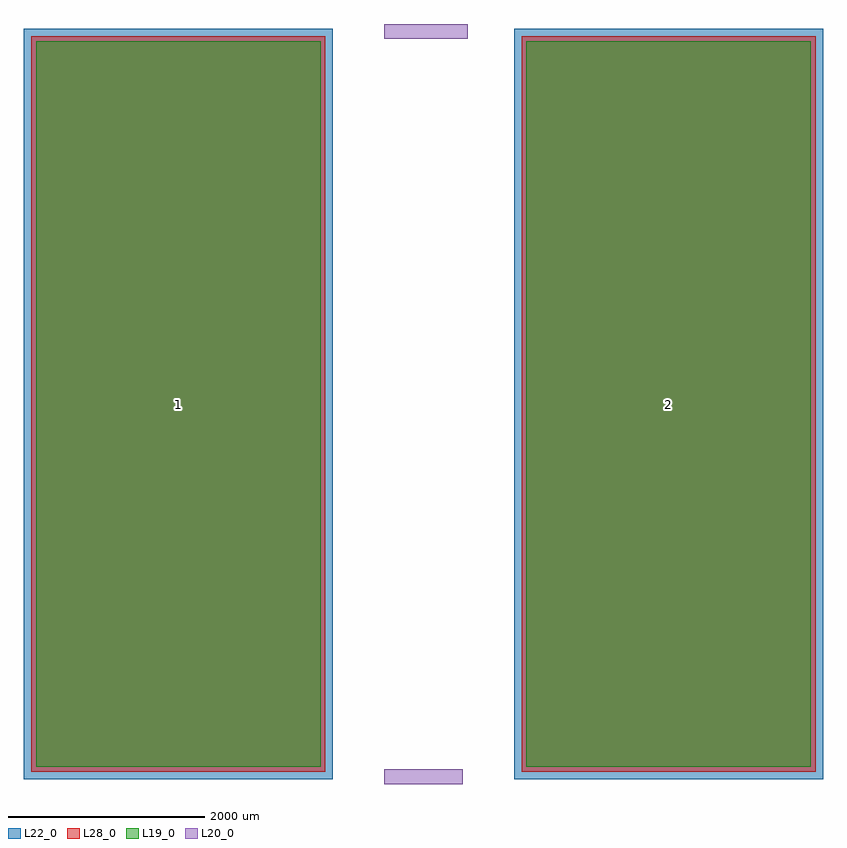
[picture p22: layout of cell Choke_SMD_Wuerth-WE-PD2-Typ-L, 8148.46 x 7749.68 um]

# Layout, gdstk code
import gdstk
lib = gdstk.Library(unit=1e-6, precision=1e-09)
def R(c, l, rs):  # rectangles x0, y0, x1, y1
    for r in rs: c.add(gdstk.rectangle(r[:2], r[2:], *l))
L19_0 = (19, 0)
L20_0 = (20, 0)
L22_0 = (22, 0)
L28_0 = (28, 0)

choke_smd_wuerth_we_pd2_ = lib.new_cell('Choke_SMD_Wuerth-WE-PD2-Typ-L')
R(choke_smd_wuerth_we_pd2_, L19_0, [(-3949.23,-3700.31,-1049.49,3700.31), (1049.49,-3700.31,3949.23,3700.31)])
R(choke_smd_wuerth_we_pd2_, L22_0, [(-4074.23,-3825.31,-924.49,3825.31), (924.49,-3825.31,4074.23,3825.31)])
R(choke_smd_wuerth_we_pd2_, L28_0, [(-3999.23,-3750.31,-999.49,3750.31), (999.49,-3750.31,3999.23,3750.31)])
choke_smd_wuerth_we_pd2_.add(gdstk.FlexPath([(-398.78,3799.84),(449.58,3799.84)], 149.998, ends="flush", simple_path=True, layer=20, datatype=0))  # L20_0
choke_smd_wuerth_we_pd2_.add(gdstk.FlexPath([(-398.78,-3799.84),(398.78,-3799.84)], 149.998, ends="flush", simple_path=True, layer=20, datatype=0))  # L20_0
choke_smd_wuerth_we_pd2_.add(gdstk.Label('2', (2499.36,0), layer=28, texttype=0))
choke_smd_wuerth_we_pd2_.add(gdstk.Label('1', (-2499.36,0), layer=28, texttype=0))
choke_smd_wuerth_we_pd2_.add(gdstk.Label('type', (0,-6350), layer=9, texttype=0))
choke_smd_wuerth_we_pd2_.add(gdstk.Label('devicename', (0,5080), layer=9, texttype=0))

lib.write_gds('Choke_SMD_Wuerth-WE-PD2-Typ-L.gds')
